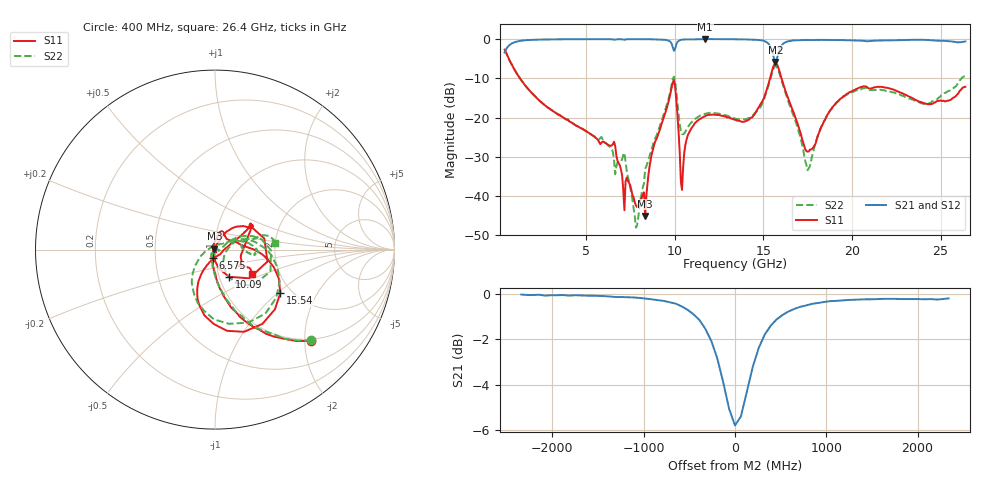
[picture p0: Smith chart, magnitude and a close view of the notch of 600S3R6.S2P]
!  American Technical Ceramics  Date:  10/26/00
!  One Norden Lane
!  Huntington Station,  NY.  11746-2102
!  Tel:  (631) 622-4700  Fax:  (631) 622-4748
!  Part Number  600S3R6  Mounting Orientation: Horizontal
!  Description: Ultra Low ESR Microwave capacitors
!  Application: Coupling, Bypass, Tuning, DC Block
!  Filters, Matching
# GHZ S DB R 50
! Freq  |S11|  S11 Ph  |S21|  S21 Ph  |S12|  S12 Ph  |S22|  S22 Ph
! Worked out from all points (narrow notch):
!   401 points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, 400 MHz to 26.4 GHz, reference 50 ohm
!   highest |S21| = 0.01 dB at 11.71 GHz (marker M1); lowest = -5.8 dB at 15.68 GHz (marker M2)
!   notch at M2: 5.6 dB deep, 396 MHz wide at half that depth
!   lowest |S11| = -45.1 dB at 8.33 GHz (marker M3), VSWR 1.01, Z = 49.7 + j0.443 ohm
!   |S11| at or under -10 dB: 1.266 GHz to 15.37 GHz (14.11 GHz wide, 170 % of centre); 16.02 GHz to end of sweep
!   |S22| runs from -48.1 to -2.6 dB; largest |S21 - S12| = 0.013
!   S11 on the Smith chart (normalised r, x): 400 MHz: 0.96, -2.13; 6.575 GHz: 0.97, -0.09; 10.09 GHz: 1.11, -0.35; 15.54 GHz: 1.75, -1.04; 26.4 GHz: 1.44, -0.42
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0.4  -2.66 -43.7  -3.41 46.2  -3.42 46.1  -2.64 -43.3
1.44  -11.06 -78.1  -0.35 11.6  -0.37 11.5  -11.13 -77.7
4.755  -22.77 -98.1  -0.02 -12.3  -0.04 -12.4  -22.85 -103.3
6.575  -26.18 -103.7  -0.13 -21.1  -0.14 -21.2  -30.87 -133.6
7.16  -43.66 -56.0  -0.15 -23.1  -0.15 -23.2  -29.01 -114.6
7.81  -42.40 -38.8  -0.01 -26.1  -0.01 -26.1  -48.10 -65.2
8.33  -45.14 126.3  -0.01 -28.7  -0.02 -28.8  -33.13 -19.6
9.11  -23.74 64.4  -0.09 -33.0  -0.11 -33.1  -22.77 28.7
9.89  -11.01 12.6  -2.04 -43.0  -2.02 -42.6  -10.11 -0.8
10.085  -15.36 -62.6  -1.42 -24.1  -1.42 -24.6  -13.26 -58.4
10.41  -38.47 145.9  -0.13 -31.5  -0.16 -31.8  -24.24 -31.5
11.71  -19.70 73.4  0.01 -40.7  0.00 -41.0  -19.05 20.4
13.4  -20.56 52.5  -0.05 -49.8  -0.07 -49.9  -20.27 26.3
14.505  -19.18 24.5  -0.15 -57.1  -0.17 -57.2  -18.95 28.9
15.545  -7.19 -33.6  -3.88 -73.3  -3.86 -73.2  -7.94 -25.9
15.675  -6.18 -57.5  -5.80 -58.3  -5.74 -58.3  -6.86 -51.9
16.13  -11.55 -112.0  -1.13 -43.5  -1.15 -43.9  -12.12 -120.4
17.43  -28.55 -71.6  -0.22 -58.2  -0.26 -58.4  -32.13 145.3
17.755  -28.00 -28.7  -0.24 -59.8  -0.26 -60.1  -29.76 60.5
19.38  -15.14 29.1  -0.26 -68.3  -0.27 -68.6  -15.28 14.4
22.11  -12.55 31.3  -0.33 -80.7  -0.35 -80.9  -13.41 -7.0
26.4  -12.15 -33.9  -0.59 -101.7  -0.63 -102.4  -9.39 6.5
